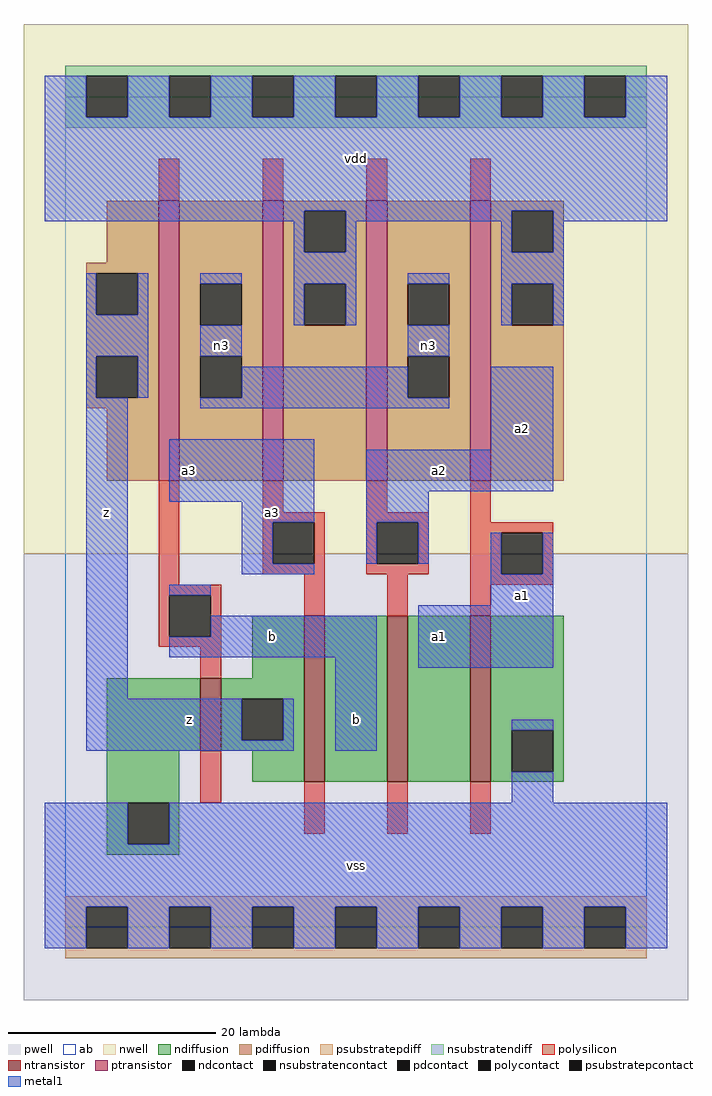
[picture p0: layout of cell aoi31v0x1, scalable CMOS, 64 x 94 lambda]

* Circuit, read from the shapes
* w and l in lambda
.subckt aoi31v0x1 a1 a2 a3 b n3 vdd vss z
M1 z b vss vss nfet w=7 l=2
M2 n1 a3 z vss nfet w=16 l=2
M3 n2 a2 n1 vss nfet w=16 l=2
M4 vss a1 n2 vss nfet w=16 l=2
M5 n3 b z vdd pfet w=27 l=2
M6 vdd a3 n3 vdd pfet w=27 l=2
M7 n3 a2 vdd vdd pfet w=27 l=2
M8 vdd a1 n3 vdd pfet w=27 l=2
.ends

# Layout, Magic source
magic
tech scmos
<< ab >>
rect 0 0 56 80
<< pwell >>
rect -4 -7 60 36
<< nwell >>
rect -4 36 60 87
<< polysilicon >>
rect 9 70 11 74
rect 19 70 21 74
rect 29 70 31 74
rect 39 70 41 74
rect 9 33 11 43
rect 19 40 21 43
rect 29 40 31 43
rect 19 39 25 40
rect 19 35 20 39
rect 24 35 25 39
rect 19 34 25 35
rect 29 39 35 40
rect 29 35 30 39
rect 34 35 35 39
rect 29 34 35 35
rect 39 39 41 43
rect 39 38 47 39
rect 39 34 42 38
rect 46 34 47 38
rect 9 32 15 33
rect 9 28 10 32
rect 14 28 15 32
rect 23 30 25 34
rect 31 30 33 34
rect 39 33 47 34
rect 39 30 41 33
rect 9 27 15 28
rect 13 24 15 27
rect 13 12 15 17
rect 23 9 25 14
rect 31 9 33 14
rect 39 9 41 14
<< ndiffusion >>
rect 18 24 23 30
rect 4 17 13 24
rect 15 22 23 24
rect 15 18 17 22
rect 21 18 23 22
rect 15 17 23 18
rect 4 12 11 17
rect 18 14 23 17
rect 25 14 31 30
rect 33 14 39 30
rect 41 19 48 30
rect 41 15 43 19
rect 47 15 48 19
rect 41 14 48 15
rect 4 8 6 12
rect 10 8 11 12
rect 4 7 11 8
<< pdiffusion >>
rect 4 64 9 70
rect 2 63 9 64
rect 2 59 3 63
rect 7 59 9 63
rect 2 55 9 59
rect 2 51 3 55
rect 7 51 9 55
rect 2 50 9 51
rect 4 43 9 50
rect 11 62 19 70
rect 11 58 13 62
rect 17 58 19 62
rect 11 55 19 58
rect 11 51 13 55
rect 17 51 19 55
rect 11 43 19 51
rect 21 69 29 70
rect 21 65 23 69
rect 27 65 29 69
rect 21 62 29 65
rect 21 58 23 62
rect 27 58 29 62
rect 21 43 29 58
rect 31 62 39 70
rect 31 58 33 62
rect 37 58 39 62
rect 31 55 39 58
rect 31 51 33 55
rect 37 51 39 55
rect 31 43 39 51
rect 41 69 48 70
rect 41 65 43 69
rect 47 65 48 69
rect 41 62 48 65
rect 41 58 43 62
rect 47 58 48 62
rect 41 43 48 58
<< metal1 >>
rect -2 78 2 82
rect 6 78 10 82
rect 14 78 18 82
rect 22 78 26 82
rect 30 78 34 82
rect 38 78 42 82
rect 46 78 50 82
rect 54 78 58 82
rect -2 69 58 78
rect -2 68 23 69
rect 22 65 23 68
rect 27 68 43 69
rect 27 65 28 68
rect 2 59 3 63
rect 7 59 8 63
rect 2 55 8 59
rect 2 51 3 55
rect 7 51 8 55
rect 13 62 17 63
rect 22 62 28 65
rect 42 65 43 68
rect 47 68 58 69
rect 47 65 48 68
rect 22 58 23 62
rect 27 58 28 62
rect 33 62 37 63
rect 42 62 48 65
rect 42 58 43 62
rect 47 58 48 62
rect 13 55 17 58
rect 33 55 37 58
rect 17 51 33 54
rect 2 22 6 51
rect 13 50 37 51
rect 10 41 24 47
rect 41 46 47 54
rect 17 39 24 41
rect 17 35 20 39
rect 29 42 47 46
rect 29 39 35 42
rect 29 35 30 39
rect 34 35 35 39
rect 17 34 24 35
rect 41 34 42 38
rect 46 34 47 38
rect 10 32 14 33
rect 41 31 47 34
rect 14 28 30 30
rect 10 26 30 28
rect 2 18 17 22
rect 21 18 22 22
rect 2 17 22 18
rect 26 17 30 26
rect 34 25 47 31
rect 43 19 47 20
rect 43 12 47 15
rect -2 8 6 12
rect 10 8 58 12
rect -2 2 58 8
rect -2 -2 2 2
rect 6 -2 10 2
rect 14 -2 18 2
rect 22 -2 26 2
rect 30 -2 34 2
rect 38 -2 42 2
rect 46 -2 50 2
rect 54 -2 58 2
<< ntransistor >>
rect 13 17 15 24
rect 23 14 25 30
rect 31 14 33 30
rect 39 14 41 30
<< ptransistor >>
rect 9 43 11 70
rect 19 43 21 70
rect 29 43 31 70
rect 39 43 41 70
<< polycontact >>
rect 20 35 24 39
rect 30 35 34 39
rect 42 34 46 38
rect 10 28 14 32
<< ndcontact >>
rect 17 18 21 22
rect 43 15 47 19
rect 6 8 10 12
<< pdcontact >>
rect 3 59 7 63
rect 3 51 7 55
rect 13 58 17 62
rect 13 51 17 55
rect 23 65 27 69
rect 23 58 27 62
rect 33 58 37 62
rect 33 51 37 55
rect 43 65 47 69
rect 43 58 47 62
<< psubstratepcontact >>
rect 2 -2 6 2
rect 10 -2 14 2
rect 18 -2 22 2
rect 26 -2 30 2
rect 34 -2 38 2
rect 42 -2 46 2
rect 50 -2 54 2
<< nsubstratencontact >>
rect 2 78 6 82
rect 10 78 14 82
rect 18 78 22 82
rect 26 78 30 82
rect 34 78 38 82
rect 42 78 46 82
rect 50 78 54 82
<< psubstratepdiff >>
rect 0 2 56 3
rect 0 -2 2 2
rect 6 -2 10 2
rect 14 -2 18 2
rect 22 -2 26 2
rect 30 -2 34 2
rect 38 -2 42 2
rect 46 -2 50 2
rect 54 -2 56 2
rect 0 -3 56 -2
<< nsubstratendiff >>
rect 0 82 56 83
rect 0 78 2 82
rect 6 78 10 82
rect 14 78 18 82
rect 22 78 26 82
rect 30 78 34 82
rect 38 78 42 82
rect 46 78 50 82
rect 54 78 56 82
rect 0 77 56 78
<< labels >>
rlabel metal1 4 40 4 40 6 z
rlabel metal1 12 20 12 20 6 z
rlabel metal1 12 44 12 44 6 a3
rlabel metal1 15 56 15 56 6 n3
rlabel metal1 28 6 28 6 6 vss
rlabel metal1 20 28 20 28 6 b
rlabel metal1 28 20 28 20 6 b
rlabel metal1 20 40 20 40 6 a3
rlabel metal1 28 74 28 74 6 vdd
rlabel metal1 36 28 36 28 6 a1
rlabel metal1 44 32 44 32 6 a1
rlabel metal1 36 44 36 44 6 a2
rlabel metal1 44 48 44 48 6 a2
rlabel metal1 35 56 35 56 6 n3
<< end >>
